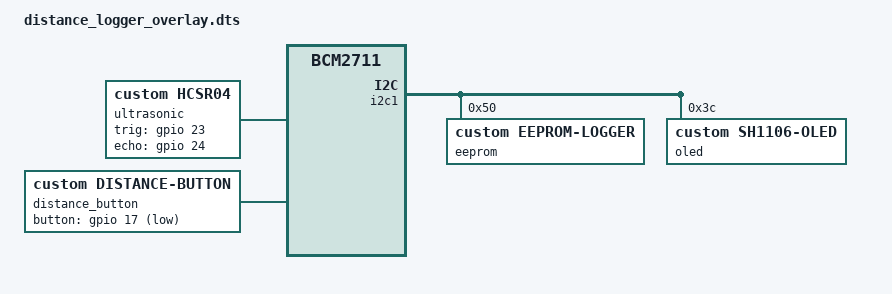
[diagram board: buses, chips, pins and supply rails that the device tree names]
/dts-v1/;
/plugin/;

/ {
    compatible = "brcm,bcm2711";

    /* ---------- Ultrasonic Sensor ---------- */
    fragment@0 {
        target-path = "/";
        __overlay__ {
            ultrasonic {
                compatible = "custom,hcsr04";
                trig-gpios = <&gpio 23 0>;
                echo-gpios = <&gpio 24 0>;
                status = "okay";
            };
        };
    };

    /* ---------- I2C EEPROM ---------- */
    fragment@1 {
        target = <&i2c1>;
        __overlay__ {
            #address-cells = <1>;
            #size-cells = <0>;

            eeprom@50 {
                compatible = "custom,eeprom-logger";
                reg = <0x50>;
                page-size = <8>;
                size-bytes = <256>;
                status = "okay";
            };
        };
    };

    /* ---------- Push Button ---------- */
    fragment@2 {
        target-path = "/";
        __overlay__ {
            distance_button {
                compatible = "custom,distance-button";
                button-gpios = <&gpio 17 1>; /* active low */
                status = "okay";
            };
        };
    };

    /* ---------- I2C OLED ---------- */
    fragment@3 {
        target = <&i2c1>;
        __overlay__ {
            #address-cells = <1>;
            #size-cells = <0>;

            oled@3c {
                compatible = "custom,sh1106-oled";
                reg = <0x3c>;
                status = "okay";
            };
        };
    };
};

